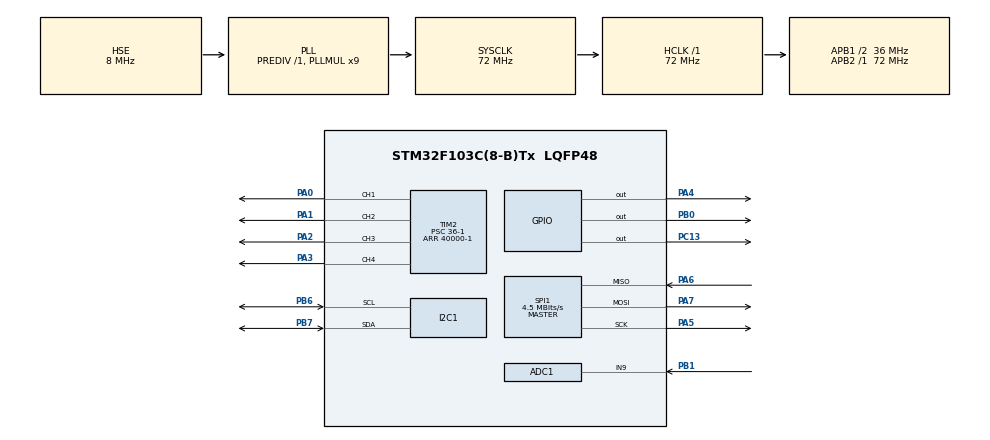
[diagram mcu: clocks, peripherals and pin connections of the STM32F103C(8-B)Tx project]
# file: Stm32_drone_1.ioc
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ADC1.Channel-4\#ChannelRegularConversion=ADC_CHANNEL_9
ADC1.ContinuousConvMode=ENABLE
ADC1.NbrOfConversionFlag=1
ADC1.Rank-4\#ChannelRegularConversion=1
ADC1.SamplingTime-4\#ChannelRegularConversion=ADC_SAMPLETIME_1CYCLE_5
ADC1.master=1
I2C1.I2C_Mode=I2C_Standard
Mcu.Family=STM32F1
Mcu.Name=STM32F103C(8-B)Tx
Mcu.Package=LQFP48
NVIC.ADC1_2_IRQn=true\:0\:0\:false\:false\:true\:true\:true\:true
NVIC.PriorityGroup=NVIC_PRIORITYGROUP_4
NVIC.SPI1_IRQn=true\:0\:0\:false\:false\:true\:true\:true\:true
PA0-WKUP.Signal=S_TIM2_CH1_ETR
PA1.Signal=S_TIM2_CH2
PA13.Mode=Serial_Wire
PA13.Signal=SYS_JTMS-SWDIO
PA14.Mode=Serial_Wire
PA14.Signal=SYS_JTCK-SWCLK
PA2.Signal=S_TIM2_CH3
PA3.Signal=S_TIM2_CH4
PA4.Signal=GPIO_Output
PA5.Mode=Full_Duplex_Master
PA5.Signal=SPI1_SCK
PA6.Mode=Full_Duplex_Master
PA6.Signal=SPI1_MISO
PA7.Mode=Full_Duplex_Master
PA7.Signal=SPI1_MOSI
PB0.Signal=GPIO_Output
PB1.Signal=ADCx_IN9
PB6.Mode=I2C
PB6.Signal=I2C1_SCL
PB7.Mode=I2C
PB7.Signal=I2C1_SDA
PC13-TAMPER-RTC.Signal=GPIO_Output
PD0-OSC_IN.Mode=HSE-External-Oscillator
PD0-OSC_IN.Signal=RCC_OSC_IN
PD1-OSC_OUT.Mode=HSE-External-Oscillator
PD1-OSC_OUT.Signal=RCC_OSC_OUT
ProjectManager.HeapSize=0x200
ProjectManager.StackSize=0x400
ProjectManager.TargetToolchain=STM32CubeIDE
RCC.ADCPresc=RCC_ADCPCLK2_DIV6
RCC.AHBFreq_Value=72000000
RCC.APB1CLKDivider=RCC_HCLK_DIV2
RCC.APB1Freq_Value=36000000
RCC.APB1TimFreq_Value=72000000
RCC.APB2Freq_Value=72000000
RCC.APB2TimFreq_Value=72000000
RCC.HCLKFreq_Value=72000000
RCC.PLLMUL=RCC_PLL_MUL9
RCC.PLLSourceVirtual=RCC_PLLSOURCE_HSE
RCC.SYSCLKFreq_VALUE=72000000
RCC.SYSCLKSource=RCC_SYSCLKSOURCE_PLLCLK
RCC.USBFreq_Value=48000000
RCC.USBPrescaler=RCC_USBCLKSOURCE_PLL_DIV1_5
SH.ADCx_IN9.0=ADC1_IN9,IN9
SH.S_TIM2_CH1_ETR.0=TIM2_CH1,PWM Generation1 CH1
SH.S_TIM2_CH2.0=TIM2_CH2,PWM Generation2 CH2
SH.S_TIM2_CH3.0=TIM2_CH3,PWM Generation3 CH3
SH.S_TIM2_CH4.0=TIM2_CH4,PWM Generation4 CH4
SPI1.BaudRatePrescaler=SPI_BAUDRATEPRESCALER_16
SPI1.CalculateBaudRate=4.5 MBits/s
SPI1.Direction=SPI_DIRECTION_2LINES
SPI1.Mode=SPI_MODE_MASTER
SPI1.VirtualType=VM_MASTER
TIM2.Channel-PWM\ Generation1\ CH1=TIM_CHANNEL_1
TIM2.Channel-PWM\ Generation2\ CH2=TIM_CHANNEL_2
TIM2.Channel-PWM\ Generation3\ CH3=TIM_CHANNEL_3
TIM2.Channel-PWM\ Generation4\ CH4=TIM_CHANNEL_4
TIM2.Period=40000-1
TIM2.Prescaler=36-1
VP_TIM2_VS_ClockSourceINT.Mode=Internal
board=custom

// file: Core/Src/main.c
/* USER CODE BEGIN Header */
/**
  ******************************************************************************
  * @file           : main.c
  * @brief          : Main program body
  ******************************************************************************
  * @attention
  *
  * Copyright (c) 2023 STMicroelectronics.
  * All rights reserved.
  *
  * This software is licensed under terms that can be found in the LICENSE file
  * in the root directory of this software component.
  * If no LICENSE file comes with this software, it is provided AS-IS.
  *
  ******************************************************************************
  */
/* USER CODE END Header */
#include "main.h"

/* USER CODE BEGIN Includes */
#include "NRF24L01.h"
#include "i2c.h"
#include "QMC5883L.h"
#include "VL53L0X.h"
#include "ESC.h"

/* USER CODE END Includes */

/* USER CODE BEGIN PD */
//#define LONG_RANGE

#define HIGH_SPEED
/* USER CODE END PD */

ADC_HandleTypeDef hadc1;

I2C_HandleTypeDef hi2c1;

SPI_HandleTypeDef hspi1;

TIM_HandleTypeDef htim2;

/* USER CODE BEGIN PV */

/*--------------- Variaveis para sensores e comunicação USB -----------------*/
struct VL53L0X myTOFsensor = {.io_2v8 = true, .address = 0b0101001, .io_timeout = 500, .did_timeout = false};
struct QMC5883L myMAGsensor = {.io_2v8 = true, .address = 0x0D, .io_timeout = 500, .did_timeout = false};
uint16_t dist = 0;
int16_t MagX,MagY,MagZ = 0;
int16_t angulo;
uint16_t duty_T,duty_T1, duty_T2,duty_T3,duty_T4;
uint16_t cont=0;
uint16_t valor_ad1;
//char buf[8];

/* -------------- Variáveis para NRF24l01+ --------------------------------*/

uint8_t RxAddress[] = {0x00,0xDD,0xCC,0xBB,0xAA};
uint8_t RxData[10] = {0,0,0,0,0,0,0,0,0,0};

uint8_t TxAddress[] = {0xEE,0xDD,0xCC,0xBB,0xAA};
uint8_t TxData[10] = {0,0,0,0,0,0,0,0,0,0};

/* USER CODE END PV */

void SystemClock_Config(void);
static void MX_GPIO_Init(void);
static void MX_I2C1_Init(void);
static void MX_TIM2_Init(void);
static void MX_SPI1_Init(void);
static void MX_ADC1_Init(void);

int main(void)
{

  /* MCU Configuration--------------------------------------------------------*/

  /* Reset of all peripherals, Initializes the Flash interface and the Systick. */
  HAL_Init();

  /* USER CODE BEGIN Init */
  SysTick_Config(SystemCoreClock / 1000);
  //-------------- Inicializa o móduloHMC5883L ---------------------------//
    	// init the I2C1 peripheral and the SDA/SCL GPIO pins
    		init_i2c1();
    	// Initialize HMC5883L
    		QMC5883L_Initialize(&myMAGsensor,MODE_CONTROL_CONTINUOUS,OUTPUT_DATA_RATE_100HZ,FULL_SCALE_2G,OVER_SAMPLE_RATIO_128);

    			// GPIO pin PB5 connected to XSHUT pin of sensor
    			GPIOB->CRL &=~GPIO_CRL_CNF5;
    			GPIOB->CRL |= GPIO_CRL_MODE5;
    			GPIOB->ODR &=~GPIO_ODR_ODR5; // shut off VL53L0X
    			HAL_Delay(1);
    			GPIOB->ODR |= GPIO_ODR_ODR5; // power up VL53L0X again
    			HAL_Delay(2);
//---------------- Inicializa o módulo VL53L0x ---------------------------//
    			VL53L0X_init(&myTOFsensor);

    			#ifdef LONG_RANGE
    			// lower the return signal rate limit (default is 0.25 MCPS)
    			VL53L0X_setSignalRateLimit(&myTOFsensor, 0.1);
    			// increase laser pulse periods (defaults are 14 and 10 PCLKs)
    			VL53L0X_setVcselPulsePeriod(&myTOFsensor, VcselPeriodPreRange, 18);
    			VL53L0X_setVcselPulsePeriod(&myTOFsensor, VcselPeriodFinalRange, 14);
    		#endif
    		#ifdef HIGH_SPEED
    			// reduce timing budget to 20 ms (default is about 33 ms)
    			VL53L0X_setMeasurementTimingBudget(&myTOFsensor, 20000);
    			//USART1_transmitString("step1\n");
    		#else //HIGH_ACCURACY
    			// increase timing budget to 200 ms
    			VL53L0X_setMeasurementTimingBudget(&myTOFsensor, 200000);
    		#endif

    			VL53L0X_startContinuous(&myTOFsensor, 0);

    			 //------------------------------------------------------

  /* USER CODE END Init */

  /* Configure the system clock */
  SystemClock_Config();

  /* Initialize all configured peripherals */
  MX_GPIO_Init();
  MX_I2C1_Init();
  MX_TIM2_Init();
  MX_SPI1_Init();
  MX_ADC1_Init();
  /* USER CODE BEGIN 2 */
  // Inicializa SPI

         NRF24_Init();

//    HAL_TIM_Base_Start_IT(&htim3);
    HAL_TIM_Base_Start_IT(&htim2);

    HAL_TIM_PWM_Start(&htim2, TIM_CHANNEL_1); 			// inicializa o PWM
    HAL_TIM_PWM_Start(&htim2, TIM_CHANNEL_2);
    HAL_TIM_PWM_Start(&htim2, TIM_CHANNEL_3);
    HAL_TIM_PWM_Start(&htim2, TIM_CHANNEL_4);

//------------------------------------------------------------//
    duty_T = 0.05*htim2.Init.Period*1.0345; 			// variável de controle do duty do PWM do timer 1. Varia de (5%)2000 a (10%) 4000
    		     TIM2->CCR1 = duty_T;
    		     TIM2->CCR2 = duty_T;								 	//atribui o valor de duty ao PWM
    		     TIM2->CCR3 = duty_T;
    		     TIM2->CCR4 = duty_T;
    		     HAL_Delay(2000);

    /*duty_T = 0.073*htim2.Init.Period*1.0345; 			// variável de controle do duty do PWM do timer 1. Varia de (5%)2000 a (10%) 4000
     		     TIM2->CCR1 = duty_T;
       		     TIM2->CCR2 = duty_T;								 	//atribui o valor de duty ao PWM
      		     TIM2->CCR3 = duty_T;
       		     TIM2->CCR4 = duty_T;
       		     HAL_Delay(2000);*/
NRF24_TxMode(TxAddress,10);
  /* USER CODE END 2 */

  /* Infinite loop */
  /* USER CODE BEGIN WHILE */
while (HAL_ADCEx_Calibration_Start(&hadc1) != HAL_OK);
  while (1)
  {

    /* USER CODE END WHILE */

    /* USER CODE BEGIN 3 */

	  if (isDataAvailable(2) == 1)
				 {
					  NRF24_Receive(RxData);
					  HAL_GPIO_WritePin(GPIOC, GPIO_PIN_13, GPIO_PIN_RESET);

				  }

	  NRF24_TxMode(TxAddress, 10);
	   /*envia valores pelo wifi*/
	  // HAL_Delay(10);

	 	 if(NRF24_Transmit(TxData) == 1){
	 		HAL_GPIO_WritePin(GPIOC, GPIO_PIN_13, GPIO_PIN_SET);
	 		NRF24_RxMode(RxAddress, 10);
	 	 }

	 	  	  dist = VL53L0X_readRangeContinuousMillimeters(&myTOFsensor);
	 	  	  angulo = QMC5883L_Azimuth(&myMAGsensor);
	 		  duty_T1 = RxData[0]*htim2.Init.Period*1.0345*0.0005 + 5*htim2.Init.Period*1.0345*0.01;  // variável de controle do duty do PWM do timer 1. Varia de (5%)2000 a (10%) 4000
	 		  duty_T2 = RxData[1]*htim2.Init.Period*1.0345*0.0005 + 5*htim2.Init.Period*1.0345*0.01;  // variável de controle do duty do PWM do timer 1. Varia de (5%)2000 a (10%) 4000
	 		  duty_T3 = RxData[2]*htim2.Init.Period*1.0345*0.0005 + 5*htim2.Init.Period*1.0345*0.01;  // variável de controle do duty do PWM do timer 1. Varia de (5%)2000 a (10%) 4000
	 		  duty_T4 = RxData[3]*htim2.Init.Period*1.0345*0.0005 + 5*htim2.Init.Period*1.0345*0.01;  // variável de controle do duty do PWM do timer 1. Varia de (5%)2000 a (10%) 4000

	 		  TIM2->CCR1 = duty_T1;
	 		  TIM2->CCR2 = duty_T2;								 	//atribui o valor de duty ao PWM
	 		  TIM2->CCR3 = duty_T3;
	 		  TIM2->CCR4 = duty_T4;

	 		    HAL_ADC_Start(&hadc1);						// Inicia o conversor A/D
				while (HAL_ADC_PollForConversion(&hadc1, 1) != HAL_OK);						// wait for completing the conversion
				HAL_ADC_Stop(&hadc1);
				valor_ad1 = HAL_ADC_GetValue(&hadc1);// Atribui valor à variável utilizada

	 		   TxData [0] = duty_T1;
	 		   TxData [1] = duty_T1 >> 8;
	 		   TxData [2] = angulo;
	 		   TxData [3] = angulo >> 8;
	 		   TxData [4] = valor_ad1;
	 		   TxData [5] = valor_ad1 >> 8;

	  //HAL_Delay(2);

  }
  /* USER CODE END 3 */
}

void SystemClock_Config(void)
{
  RCC_OscInitTypeDef RCC_OscInitStruct = {0};
  RCC_ClkInitTypeDef RCC_ClkInitStruct = {0};
  RCC_PeriphCLKInitTypeDef PeriphClkInit = {0};

  /** Initializes the RCC Oscillators according to the specified parameters
  * in the RCC_OscInitTypeDef structure.
  */
  RCC_OscInitStruct.OscillatorType = RCC_OSCILLATORTYPE_HSE;
  RCC_OscInitStruct.HSEState = RCC_HSE_ON;
  RCC_OscInitStruct.HSEPredivValue = RCC_HSE_PREDIV_DIV1;
  RCC_OscInitStruct.HSIState = RCC_HSI_ON;
  RCC_OscInitStruct.PLL.PLLState = RCC_PLL_ON;
  RCC_OscInitStruct.PLL.PLLSource = RCC_PLLSOURCE_HSE;
  RCC_OscInitStruct.PLL.PLLMUL = RCC_PLL_MUL9;
  if (HAL_RCC_OscConfig(&RCC_OscInitStruct) != HAL_OK)
  {
    Error_Handler();
  }

  /** Initializes the CPU, AHB and APB buses clocks
  */
  RCC_ClkInitStruct.ClockType = RCC_CLOCKTYPE_HCLK|RCC_CLOCKTYPE_SYSCLK
                              |RCC_CLOCKTYPE_PCLK1|RCC_CLOCKTYPE_PCLK2;
  RCC_ClkInitStruct.SYSCLKSource = RCC_SYSCLKSOURCE_PLLCLK;
  RCC_ClkInitStruct.AHBCLKDivider = RCC_SYSCLK_DIV1;
  RCC_ClkInitStruct.APB1CLKDivider = RCC_HCLK_DIV2;
  RCC_ClkInitStruct.APB2CLKDivider = RCC_HCLK_DIV1;

  if (HAL_RCC_ClockConfig(&RCC_ClkInitStruct, FLASH_LATENCY_2) != HAL_OK)
  {
    Error_Handler();
  }
  PeriphClkInit.PeriphClockSelection = RCC_PERIPHCLK_ADC;
  PeriphClkInit.AdcClockSelection = RCC_ADCPCLK2_DIV6;
  if (HAL_RCCEx_PeriphCLKConfig(&PeriphClkInit) != HAL_OK)
  {
    Error_Handler();
  }
}

static void MX_ADC1_Init(void)
{

  ADC_ChannelConfTypeDef sConfig = {0};

  /** Common config
  */
  hadc1.Instance = ADC1;
  hadc1.Init.ScanConvMode = ADC_SCAN_DISABLE;
  hadc1.Init.ContinuousConvMode = ENABLE;
  hadc1.Init.DiscontinuousConvMode = DISABLE;
  hadc1.Init.ExternalTrigConv = ADC_SOFTWARE_START;
  hadc1.Init.DataAlign = ADC_DATAALIGN_RIGHT;
  hadc1.Init.NbrOfConversion = 1;
  if (HAL_ADC_Init(&hadc1) != HAL_OK)
  {
    Error_Handler();
  }

  /** Configure Regular Channel
  */
  sConfig.Channel = ADC_CHANNEL_9;
  sConfig.Rank = ADC_REGULAR_RANK_1;
  sConfig.SamplingTime = ADC_SAMPLETIME_1CYCLE_5;
  if (HAL_ADC_ConfigChannel(&hadc1, &sConfig) != HAL_OK)
  {
    Error_Handler();
  }

}

static void MX_I2C1_Init(void)
{

  hi2c1.Instance = I2C1;
  hi2c1.Init.ClockSpeed = 100000;
  hi2c1.Init.DutyCycle = I2C_DUTYCYCLE_2;
  hi2c1.Init.OwnAddress1 = 0;
  hi2c1.Init.AddressingMode = I2C_ADDRESSINGMODE_7BIT;
  hi2c1.Init.DualAddressMode = I2C_DUALADDRESS_DISABLE;
  hi2c1.Init.OwnAddress2 = 0;
  hi2c1.Init.GeneralCallMode = I2C_GENERALCALL_DISABLE;
  hi2c1.Init.NoStretchMode = I2C_NOSTRETCH_DISABLE;
  if (HAL_I2C_Init(&hi2c1) != HAL_OK)
  {
    Error_Handler();
  }

}

static void MX_SPI1_Init(void)
{

  /* SPI1 parameter configuration*/
  hspi1.Instance = SPI1;
  hspi1.Init.Mode = SPI_MODE_MASTER;
  hspi1.Init.Direction = SPI_DIRECTION_2LINES;
  hspi1.Init.DataSize = SPI_DATASIZE_8BIT;
  hspi1.Init.CLKPolarity = SPI_POLARITY_LOW;
  hspi1.Init.CLKPhase = SPI_PHASE_1EDGE;
  hspi1.Init.NSS = SPI_NSS_SOFT;
  hspi1.Init.BaudRatePrescaler = SPI_BAUDRATEPRESCALER_16;
  hspi1.Init.FirstBit = SPI_FIRSTBIT_MSB;
  hspi1.Init.TIMode = SPI_TIMODE_DISABLE;
  hspi1.Init.CRCCalculation = SPI_CRCCALCULATION_DISABLE;
  hspi1.Init.CRCPolynomial = 10;
  if (HAL_SPI_Init(&hspi1) != HAL_OK)
  {
    Error_Handler();
  }

}

static void MX_TIM2_Init(void)
{

  TIM_ClockConfigTypeDef sClockSourceConfig = {0};
  TIM_MasterConfigTypeDef sMasterConfig = {0};
  TIM_OC_InitTypeDef sConfigOC = {0};

  htim2.Instance = TIM2;
  htim2.Init.Prescaler = 36-1;
  htim2.Init.CounterMode = TIM_COUNTERMODE_UP;
  htim2.Init.Period = 40000-1;
  htim2.Init.ClockDivision = TIM_CLOCKDIVISION_DIV1;
  htim2.Init.AutoReloadPreload = TIM_AUTORELOAD_PRELOAD_DISABLE;
  if (HAL_TIM_Base_Init(&htim2) != HAL_OK)
  {
    Error_Handler();
  }
  sClockSourceConfig.ClockSource = TIM_CLOCKSOURCE_INTERNAL;
  if (HAL_TIM_ConfigClockSource(&htim2, &sClockSourceConfig) != HAL_OK)
  {
    Error_Handler();
  }
  if (HAL_TIM_PWM_Init(&htim2) != HAL_OK)
  {
    Error_Handler();
  }
  sMasterConfig.MasterOutputTrigger = TIM_TRGO_RESET;
  sMasterConfig.MasterSlaveMode = TIM_MASTERSLAVEMODE_DISABLE;
  if (HAL_TIMEx_MasterConfigSynchronization(&htim2, &sMasterConfig) != HAL_OK)
  {
    Error_Handler();
  }
  sConfigOC.OCMode = TIM_OCMODE_PWM1;
  sConfigOC.Pulse = 0;
  sConfigOC.OCPolarity = TIM_OCPOLARITY_HIGH;
  sConfigOC.OCFastMode = TIM_OCFAST_DISABLE;
  if (HAL_TIM_PWM_ConfigChannel(&htim2, &sConfigOC, TIM_CHANNEL_1) != HAL_OK)
  {
    Error_Handler();
  }
  if (HAL_TIM_PWM_ConfigChannel(&htim2, &sConfigOC, TIM_CHANNEL_2) != HAL_OK)
  {
    Error_Handler();
  }
  if (HAL_TIM_PWM_ConfigChannel(&htim2, &sConfigOC, TIM_CHANNEL_3) != HAL_OK)
  {
    Error_Handler();
  }
  if (HAL_TIM_PWM_ConfigChannel(&htim2, &sConfigOC, TIM_CHANNEL_4) != HAL_OK)
  {
    Error_Handler();
  }
  HAL_TIM_MspPostInit(&htim2);

}

static void MX_GPIO_Init(void)
{
  GPIO_InitTypeDef GPIO_InitStruct = {0};

  /* GPIO Ports Clock Enable */
  __HAL_RCC_GPIOC_CLK_ENABLE();
  __HAL_RCC_GPIOD_CLK_ENABLE();
  __HAL_RCC_GPIOA_CLK_ENABLE();
  __HAL_RCC_GPIOB_CLK_ENABLE();

  /*Configure GPIO pin Output Level */
  HAL_GPIO_WritePin(GPIOC, GPIO_PIN_13, GPIO_PIN_RESET);

  /*Configure GPIO pin Output Level */
  HAL_GPIO_WritePin(GPIOA, GPIO_PIN_4, GPIO_PIN_RESET);

  /*Configure GPIO pin Output Level */
  HAL_GPIO_WritePin(GPIOB, GPIO_PIN_0, GPIO_PIN_RESET);

  /*Configure GPIO pin : PC13 */
  GPIO_InitStruct.Pin = GPIO_PIN_13;
  GPIO_InitStruct.Mode = GPIO_MODE_OUTPUT_PP;
  GPIO_InitStruct.Pull = GPIO_NOPULL;
  GPIO_InitStruct.Speed = GPIO_SPEED_FREQ_LOW;
  HAL_GPIO_Init(GPIOC, &GPIO_InitStruct);

  /*Configure GPIO pin : PA4 */
  GPIO_InitStruct.Pin = GPIO_PIN_4;
  GPIO_InitStruct.Mode = GPIO_MODE_OUTPUT_PP;
  GPIO_InitStruct.Pull = GPIO_NOPULL;
  GPIO_InitStruct.Speed = GPIO_SPEED_FREQ_LOW;
  HAL_GPIO_Init(GPIOA, &GPIO_InitStruct);

  /*Configure GPIO pin : PB0 */
  GPIO_InitStruct.Pin = GPIO_PIN_0;
  GPIO_InitStruct.Mode = GPIO_MODE_OUTPUT_PP;
  GPIO_InitStruct.Pull = GPIO_NOPULL;
  GPIO_InitStruct.Speed = GPIO_SPEED_FREQ_LOW;
  HAL_GPIO_Init(GPIOB, &GPIO_InitStruct);

}

/* USER CODE BEGIN 4 */

/**
  * @brief  Period elapsed callback in non-blocking mode
  * @param  htim TIM handle
  * @retval None
  */
 void HAL_TIM_PeriodElapsedCallback(TIM_HandleTypeDef *htim3)
{

  /*envia valor de duty para matlab*/
   //int tam = sizeof(UserTxBuffer);  //define o tamanho da string
   //UserTxBuffer [tam1] = '\n';            //adciona quebra de linha
   //UserTxBuffer2[tam1+1] = '\0';        //adiciona id ao final da string

   //CDC_Transmit_FS(UserTxBuffer, tam);  //envia dados para PC

     //UserTxBuffer[tam] = '\n';            //adciona quebra de linha
     //UserTxBuffer[tam+1] = '\0';        //adiciona id ao final da string
}

/* USER CODE END 4 */

void Error_Handler(void)
{
  __disable_irq();
  while (1)
  {
  }
}
